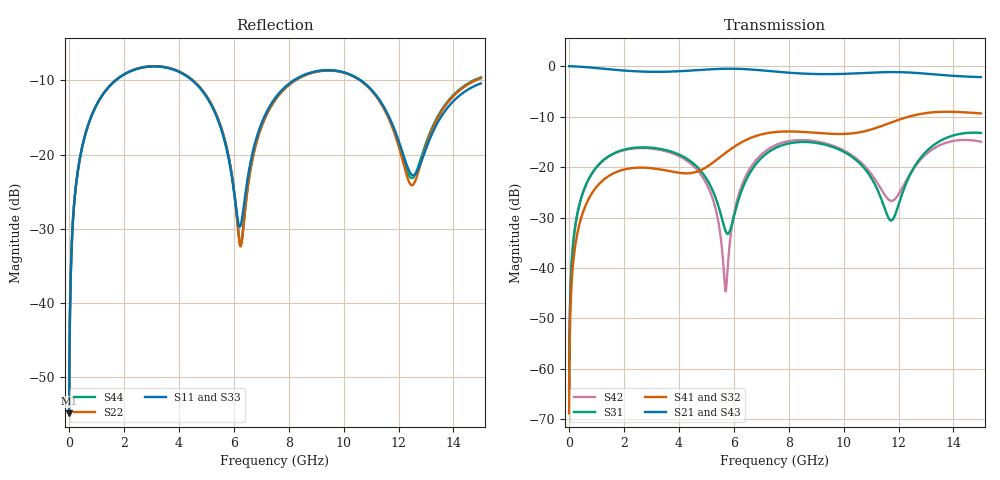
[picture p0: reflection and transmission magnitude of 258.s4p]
! Created with skrf 1.8.0 (http://scikit-rf.org).
# GHz S RI R 50.0
!freq ReS11 ImS11 ReS12 ImS12 ReS13 ImS13
! ReS14 ImS14
! ReS21 ImS21 ReS22 ImS22 ReS23 ImS23
! ReS24 ImS24
! ReS31 ImS31 ReS32 ImS32 ReS33 ImS33
! ReS34 ImS34
! ReS41 ImS41 ReS42 ImS42 ReS43 ImS43
! ReS44 ImS44
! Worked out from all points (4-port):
!   2499 points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, 5 MHz to 15 GHz, reference 50 ohm
!   strongest paths, dB at 5 MHz, 3.476 GHz, 7.19 GHz, 11.1 GHz, 15 GHz:
!     S21: 0.0, -1.1, -0.9, -1.3, -2.2
!     S43: 0.0, -1.1, -0.9, -1.3, -2.2
!     S41: -68.8, -20.6, -13.3, -12.4, -9.4
!     S32: -68.8, -20.7, -13.3, -12.4, -9.4
!     S31: -64.8, -16.6, -17.3, -23.0, -13.2
!     S42: -64.8, -16.8, -16.7, -22.1, -15.0
!   lowest |S11| = -54.8 dB at 5 MHz (marker M1), VSWR 1.00, Z = 50.1 + j0.11 ohm
!   |S11| at or under -10 dB: start of sweep to 1.695 GHz; 4.492 GHz to 8.175 GHz (3.682 GHz wide, 58.1 % of centre); 10.63 GHz to end of sweep
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0.005  0.00144 0.0011  0.9985 -0.00281  7.17e-05 0.000568  -6.97e-05 -0.000356
       0.9985 -0.00281  0.00144 0.0011  -6.97e-05 -0.000356  7.17e-05 0.000568
       7.17e-05 0.000568  -6.97e-05 -0.000356  0.00144 0.0011  0.9985 -0.00281
       -6.97e-05 -0.000356  7.17e-05 0.000568  0.9985 -0.00281  0.00144 0.0011
0.3126303  0.0193 0.0729  0.9737 -0.1754  0.00877 0.0342  -0.00721 -0.0213
           0.9737 -0.1754  0.0194 0.0728  -0.00721 -0.0213  0.00852 0.0342
           0.00877 0.0342  -0.00721 -0.0213  0.0193 0.0728  0.9737 -0.1754
           -0.00721 -0.0213  0.00852 0.0342  0.9737 -0.1754  0.0194 0.0728
1.569404  0.2341 0.1898  0.6228 -0.6832  0.1154 0.0677  -0.0833 -0.0179
          0.6228 -0.6832  0.2352 0.1891  -0.0832 -0.0179  0.1117 0.0718
          0.1154 0.0677  -0.0832 -0.0179  0.2341 0.1898  0.6228 -0.6832
          -0.0833 -0.0179  0.1117 0.0718  0.6228 -0.6832  0.2352 0.1892
5.702376  0.0591 -0.1005  -0.8842 -0.3239  -0.0206 -0.0108  -0.0425 0.1313
          -0.8842 -0.3239  0.0522 -0.1076  -0.0437 0.1309  0.00585 0.000496
          -0.0206 -0.0108  -0.0437 0.1309  0.0588 -0.1012  -0.8842 -0.3238
          -0.0425 0.1313  0.00585 0.000496  -0.8842 -0.3238  0.0529 -0.1079
6.796582  0.0717 0.1013  -0.8932 0.2144  0.0438 0.0965  0.0652 0.1918
          -0.8932 0.2144  0.0614 0.0982  0.0637 0.1922  0.0682 0.0933
          0.0438 0.0965  0.0637 0.1922  0.0713 0.1011  -0.8932 0.2146
          0.0652 0.1918  0.0682 0.0933  -0.8932 0.2146  0.0617 0.0976
9.704043  0.3664 -0.0413  0.0199 0.8338  0.1296 -0.0841  0.2016 -0.0674
          0.0199 0.8338  0.3645 -0.0406  0.2015 -0.0644  0.1302 -0.0917
          0.1296 -0.0841  0.2015 -0.0644  0.3675 -0.0439  0.0207 0.8334
          0.2016 -0.0674  0.1302 -0.0917  0.0207 0.8334  0.3651 -0.0389
15  0.2925 0.0758  0.3839 -0.6773  0.2084 -0.063  -0.325 -0.0999
    0.3839 -0.6773  0.3174 0.0786  -0.3236 -0.106  0.1775 -0.0162
    0.2084 -0.063  -0.3236 -0.106  0.2946 0.0824  0.3803 -0.6774
    -0.325 -0.0999  0.1775 -0.0162  0.3803 -0.6774  0.3239 0.0724
